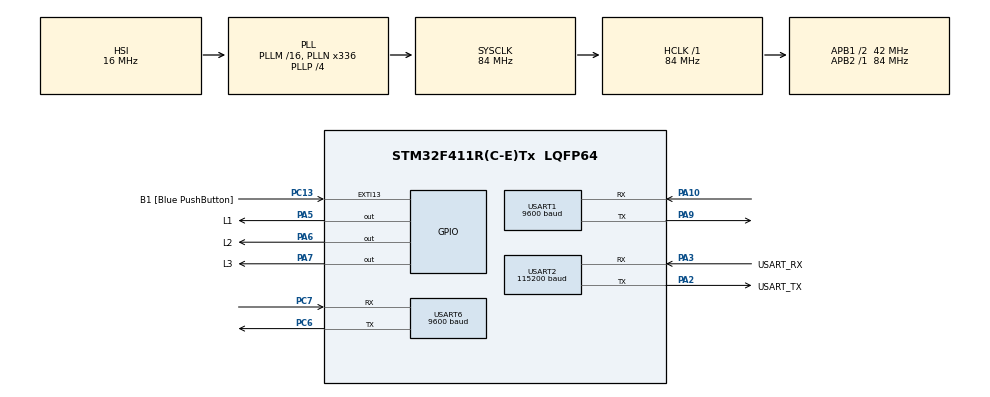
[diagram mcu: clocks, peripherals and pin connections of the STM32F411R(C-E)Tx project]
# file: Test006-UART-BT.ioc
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Mcu.Family=STM32F4
Mcu.Name=STM32F411R(C-E)Tx
Mcu.Package=LQFP64
NVIC.EXTI15_10_IRQn=true\:0\:0\:false\:false\:true\:true\:true\:true
NVIC.PriorityGroup=NVIC_PRIORITYGROUP_0
NVIC.USART1_IRQn=true\:0\:0\:false\:false\:true\:true\:true\:true
NVIC.USART2_IRQn=true\:0\:0\:false\:false\:true\:true\:true\:true
NVIC.USART6_IRQn=true\:0\:0\:false\:false\:true\:true\:true\:true
PA10.Mode=Asynchronous
PA10.Signal=USART1_RX
PA13.GPIO_Label=TMS
PA13.Mode=Serial_Wire
PA13.Signal=SYS_JTMS-SWDIO
PA14.GPIO_Label=TCK
PA14.Mode=Serial_Wire
PA14.Signal=SYS_JTCK-SWCLK
PA2.GPIO_Label=USART_TX
PA2.Mode=Asynchronous
PA2.Signal=USART2_TX
PA3.GPIO_Label=USART_RX
PA3.Mode=Asynchronous
PA3.Signal=USART2_RX
PA5.GPIO_Label=L1
PA5.Signal=GPIO_Output
PA6.GPIO_Label=L2
PA6.Signal=GPIO_Output
PA7.GPIO_Label=L3
PA7.Signal=GPIO_Output
PA9.Mode=Asynchronous
PA9.Signal=USART1_TX
PB3.GPIO_Label=SWO
PB3.Signal=SYS_JTDO-SWO
PC13-ANTI_TAMP.GPIO_Label=B1 [Blue PushButton]
PC13-ANTI_TAMP.GPIO_ModeDefaultEXTI=GPIO_MODE_IT_FALLING
PC13-ANTI_TAMP.Signal=GPXTI13
PC14-OSC32_IN.Mode=LSE-External-Oscillator
PC14-OSC32_IN.Signal=RCC_OSC32_IN
PC15-OSC32_OUT.Mode=LSE-External-Oscillator
PC15-OSC32_OUT.Signal=RCC_OSC32_OUT
PC6.Mode=Asynchronous
PC6.Signal=USART6_TX
PC7.Mode=Asynchronous
PC7.Signal=USART6_RX
PH0\ -\ OSC_IN.Mode=HSE-External-Clock-Source
PH0\ -\ OSC_IN.Signal=RCC_OSC_IN
PH1\ -\ OSC_OUT.Mode=HSE-External-Clock-Source
PH1\ -\ OSC_OUT.Signal=RCC_OSC_OUT
ProjectManager.HeapSize=0x200
ProjectManager.StackSize=0x400
ProjectManager.TargetToolchain=STM32CubeIDE
RCC.48MHZClocksFreq_Value=84000000
RCC.AHBFreq_Value=84000000
RCC.APB1CLKDivider=RCC_HCLK_DIV2
RCC.APB1Freq_Value=42000000
RCC.APB1TimFreq_Value=84000000
RCC.APB2Freq_Value=84000000
RCC.APB2TimFreq_Value=84000000
RCC.CortexFreq_Value=84000000
RCC.FLatency-AdvancedSettings=FLASH_LATENCY_2
RCC.HCLKFreq_Value=84000000
RCC.HSE_VALUE=8000000
RCC.HSI_VALUE=16000000
RCC.PLLN=336
RCC.PLLP=RCC_PLLP_DIV4
RCC.SYSCLKFreq_VALUE=84000000
RCC.SYSCLKSource=RCC_SYSCLKSOURCE_PLLCLK
RCC.VCOOutputFreq_Value=336000000
USART1.BaudRate=9600
USART1.VirtualMode=VM_ASYNC
USART2.BaudRate=115200
USART2.VirtualMode=VM_ASYNC
USART6.BaudRate=9600
USART6.VirtualMode=VM_ASYNC
board=NUCLEO-F411RE

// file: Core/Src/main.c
/* USER CODE BEGIN Header */
/**
  ******************************************************************************
  * @file           : main.c
  * @brief          : Main program body
  ******************************************************************************
  * @attention
  *
  * Copyright (c) 2024 STMicroelectronics.
  * All rights reserved.
  *
  * This software is licensed under terms that can be found in the LICENSE file
  * in the root directory of this software component.
  * If no LICENSE file comes with this software, it is provided AS-IS.
  *
  ******************************************************************************
  */
/* USER CODE END Header */
#include "main.h"

/* USER CODE BEGIN Includes */
#include <stdio.h>
#include "myLib.h"
/* USER CODE END Includes */

UART_HandleTypeDef huart1;
UART_HandleTypeDef huart2;
UART_HandleTypeDef huart6;

void SystemClock_Config(void);
static void MX_GPIO_Init(void);
static void MX_USART2_UART_Init(void);
static void MX_USART1_UART_Init(void);
static void MX_USART6_UART_Init(void);

/* USER CODE BEGIN 0 */
void HAL_GPIO_EXTI_Callback(uint16_t GPIO_Pin)
{

}
//extern myBuffer Buf;
extern myCMDSET myCmd[];
myBuffer *Buf1, *Buf2; // null pointer
char dum1, dum2;
int idx1 = 0, idx2 = 0;
int eol = 0;
void HAL_UART_RxCpltCallback(UART_HandleTypeDef *huart)
{
	if(huart == &huart6) // address of handle
	{
		Buf1->v0[idx1++] = dum1;
		HAL_UART_Receive_IT(&huart6, &dum1, 1);
	}
	else if(huart == &huart2) // KBD input by Putty
	{
		if(dum2 == '\r') // [Enter] Key
		{
			HAL_UART_Transmit(&huart2, "\r\n", 2, 10); // Echo
			HAL_UART_Transmit(&huart6, Buf2, idx2, 100); // redirection to BT
			switch(eol)
			{
			case 1:
				HAL_UART_Transmit(&huart6, "\r\n", 2, 10); // CRLF
				break;
			case 2:
				HAL_UART_Transmit(&huart6, "\n", 1, 10); // LF
				break;
			case 3:
				HAL_UART_Transmit(&huart6, "\0", 1, 10); // NULL
				break;
			case 4:
				//HAL_UART_Transmit(&huart1, "\n\r", 2, 10); // NONE
				break;
			}
			//HAL_UART_Transmit(&huart1, "\0", 1, 10); // HC-05 (zs040) EOL char
			idx2 = 0;
		}
		else
		{
			HAL_UART_Transmit(&huart2, &dum2, 1, 10); // Echo
			Buf2->v0[idx2++] = dum2;
			Buf2->v0[idx2] = 0; // Null
		}
		HAL_UART_Receive_IT(&huart2, &dum2, 1);
	}
}

char* p[10]; // pointer array

/* USER CODE END 0 */

int main(void)
{
  /* USER CODE BEGIN 1 */
	myBuffer b1, b2;
	Buf1 = &b1; Buf2 = &b2;
  /* USER CODE END 1 */

  /* MCU Configuration--------------------------------------------------------*/

  /* Reset of all peripherals, Initializes the Flash interface and the Systick. */
  HAL_Init();

  /* Configure the system clock */
  SystemClock_Config();

  /* Initialize all configured peripherals */
  MX_GPIO_Init();
  MX_USART2_UART_Init();
  MX_USART1_UART_Init();
  MX_USART6_UART_Init();
  /* USER CODE BEGIN 2 */
  ProgramStart("UART - Bluetooth"); Cursor(1);
  printf("Select EOL \r\n 1:CRLF\r\n 2:LF\r\n 3:NULL\r\n 4:none\r\n");
  //setvbuf(stdin, NULL, _IONBF, 0); // BUFFER CLEAR
  //scanf("%d", &eol);

  //char *t1 = "   Test string   ";
  //char *t2 = Trim(t1);  // "Test string"
  //printf("Before : Trim([%s]) = [%s]\r\n", t1, t2); free(t2);
  //printf("After : Trim([%s]) = [%s]\r\n", t1, t2);

  printf("your select is %d.\r\n", eol);
  //Wait();
  //HAL_UART_Receive_IT(&huart1, &dum1, 1);
  HAL_UART_Receive_IT(&huart2, &dum2, 1);
  HAL_UART_Receive_IT(&huart6, &dum1, 1);
  /* USER CODE END 2 */

  /* Infinite loop */
  while (1)
  {

    /* USER CODE BEGIN 3 */
	  if(idx1)
	  {
		  Buf1->v0[idx1] = 0;
		  printf("%s\r\n", Buf1);

		  // LED 1 ON   ==> 1:cmd  2:op1  3:op2
		  // char a1[10], a2[5], a3[5]; // array for return value

		  int r = Parsing(Buf1, p);
		  if(r > 0) // CMD mode
		  {
			  printf("Parsing ---> [%s] [%s] [%s]\r\n", p[0], p[1], p[2]);
			  if(!myStrncmp(p[0], "LED", 3)) LED_Control();
			  //else if(!myStrncmp(p[0], "MOTOR", 5)) MOTER_Control();
			  //else if(!myStrncmp(p[0], "BUZZER", 6)) BUZZER_Control();
		  }
		   idx1 = 0;
	  }
	  HAL_Delay(500);
  }
  /* USER CODE END 3 */
}

void SystemClock_Config(void)
{
  RCC_OscInitTypeDef RCC_OscInitStruct = {0};
  RCC_ClkInitTypeDef RCC_ClkInitStruct = {0};

  /** Configure the main internal regulator output voltage
  */
  __HAL_RCC_PWR_CLK_ENABLE();
  __HAL_PWR_VOLTAGESCALING_CONFIG(PWR_REGULATOR_VOLTAGE_SCALE1);

  /** Initializes the RCC Oscillators according to the specified parameters
  * in the RCC_OscInitTypeDef structure.
  */
  RCC_OscInitStruct.OscillatorType = RCC_OSCILLATORTYPE_HSI;
  RCC_OscInitStruct.HSIState = RCC_HSI_ON;
  RCC_OscInitStruct.HSICalibrationValue = RCC_HSICALIBRATION_DEFAULT;
  RCC_OscInitStruct.PLL.PLLState = RCC_PLL_ON;
  RCC_OscInitStruct.PLL.PLLSource = RCC_PLLSOURCE_HSI;
  RCC_OscInitStruct.PLL.PLLM = 16;
  RCC_OscInitStruct.PLL.PLLN = 336;
  RCC_OscInitStruct.PLL.PLLP = RCC_PLLP_DIV4;
  RCC_OscInitStruct.PLL.PLLQ = 4;
  if (HAL_RCC_OscConfig(&RCC_OscInitStruct) != HAL_OK)
  {
    Error_Handler();
  }

  /** Initializes the CPU, AHB and APB buses clocks
  */
  RCC_ClkInitStruct.ClockType = RCC_CLOCKTYPE_HCLK|RCC_CLOCKTYPE_SYSCLK
                              |RCC_CLOCKTYPE_PCLK1|RCC_CLOCKTYPE_PCLK2;
  RCC_ClkInitStruct.SYSCLKSource = RCC_SYSCLKSOURCE_PLLCLK;
  RCC_ClkInitStruct.AHBCLKDivider = RCC_SYSCLK_DIV1;
  RCC_ClkInitStruct.APB1CLKDivider = RCC_HCLK_DIV2;
  RCC_ClkInitStruct.APB2CLKDivider = RCC_HCLK_DIV1;

  if (HAL_RCC_ClockConfig(&RCC_ClkInitStruct, FLASH_LATENCY_2) != HAL_OK)
  {
    Error_Handler();
  }
}

static void MX_USART1_UART_Init(void)
{

  huart1.Instance = USART1;
  huart1.Init.BaudRate = 9600;
  huart1.Init.WordLength = UART_WORDLENGTH_8B;
  huart1.Init.StopBits = UART_STOPBITS_1;
  huart1.Init.Parity = UART_PARITY_NONE;
  huart1.Init.Mode = UART_MODE_TX_RX;
  huart1.Init.HwFlowCtl = UART_HWCONTROL_NONE;
  huart1.Init.OverSampling = UART_OVERSAMPLING_16;
  if (HAL_UART_Init(&huart1) != HAL_OK)
  {
    Error_Handler();
  }

}

static void MX_USART2_UART_Init(void)
{

  huart2.Instance = USART2;
  huart2.Init.BaudRate = 115200;
  huart2.Init.WordLength = UART_WORDLENGTH_8B;
  huart2.Init.StopBits = UART_STOPBITS_1;
  huart2.Init.Parity = UART_PARITY_NONE;
  huart2.Init.Mode = UART_MODE_TX_RX;
  huart2.Init.HwFlowCtl = UART_HWCONTROL_NONE;
  huart2.Init.OverSampling = UART_OVERSAMPLING_16;
  if (HAL_UART_Init(&huart2) != HAL_OK)
  {
    Error_Handler();
  }

}

static void MX_USART6_UART_Init(void)
{

  huart6.Instance = USART6;
  huart6.Init.BaudRate = 9600;
  huart6.Init.WordLength = UART_WORDLENGTH_8B;
  huart6.Init.StopBits = UART_STOPBITS_1;
  huart6.Init.Parity = UART_PARITY_NONE;
  huart6.Init.Mode = UART_MODE_TX_RX;
  huart6.Init.HwFlowCtl = UART_HWCONTROL_NONE;
  huart6.Init.OverSampling = UART_OVERSAMPLING_16;
  if (HAL_UART_Init(&huart6) != HAL_OK)
  {
    Error_Handler();
  }

}

static void MX_GPIO_Init(void)
{
  GPIO_InitTypeDef GPIO_InitStruct = {0};

  /* GPIO Ports Clock Enable */
  __HAL_RCC_GPIOC_CLK_ENABLE();
  __HAL_RCC_GPIOH_CLK_ENABLE();
  __HAL_RCC_GPIOA_CLK_ENABLE();
  __HAL_RCC_GPIOB_CLK_ENABLE();

  /*Configure GPIO pin Output Level */
  HAL_GPIO_WritePin(GPIOA, L1_Pin|L2_Pin|L3_Pin, GPIO_PIN_RESET);

  /*Configure GPIO pin : B1_Pin */
  GPIO_InitStruct.Pin = B1_Pin;
  GPIO_InitStruct.Mode = GPIO_MODE_IT_FALLING;
  GPIO_InitStruct.Pull = GPIO_NOPULL;
  HAL_GPIO_Init(B1_GPIO_Port, &GPIO_InitStruct);

  /*Configure GPIO pins : L1_Pin L2_Pin L3_Pin */
  GPIO_InitStruct.Pin = L1_Pin|L2_Pin|L3_Pin;
  GPIO_InitStruct.Mode = GPIO_MODE_OUTPUT_PP;
  GPIO_InitStruct.Pull = GPIO_NOPULL;
  GPIO_InitStruct.Speed = GPIO_SPEED_FREQ_LOW;
  HAL_GPIO_Init(GPIOA, &GPIO_InitStruct);

  /* EXTI interrupt init*/
  HAL_NVIC_SetPriority(EXTI15_10_IRQn, 0, 0);
  HAL_NVIC_EnableIRQ(EXTI15_10_IRQn);

}

void Error_Handler(void)
{
  __disable_irq();
  while (1)
  {
  }
}
